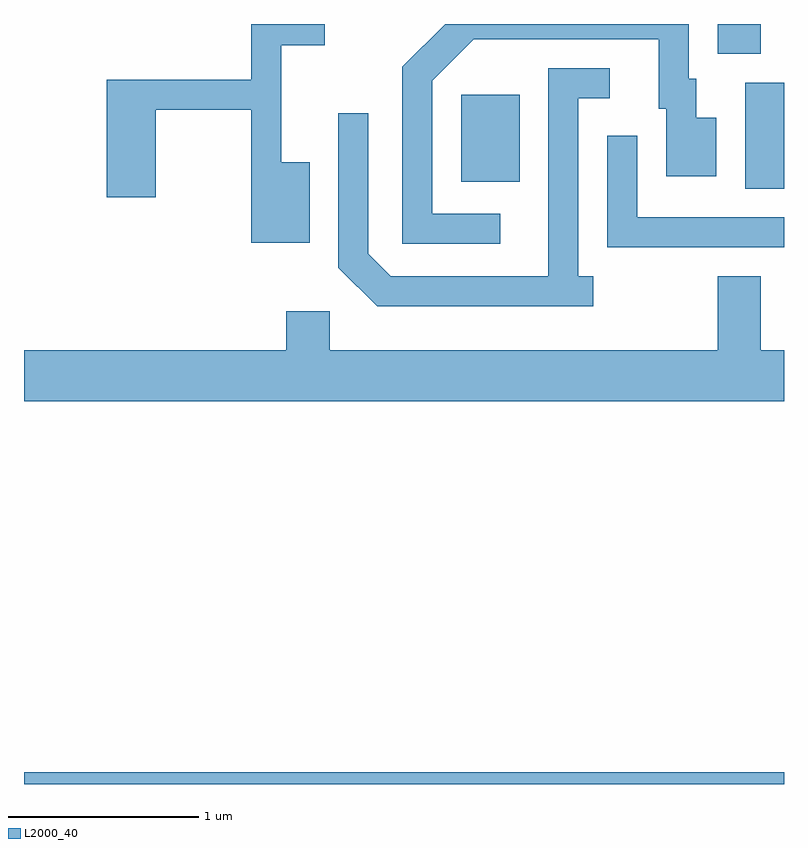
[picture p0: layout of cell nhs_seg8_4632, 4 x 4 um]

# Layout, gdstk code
import gdstk
lib = gdstk.Library(unit=1e-6, precision=1e-09)
def R(c, l, rs):  # rectangles x0, y0, x1, y1
    for r in rs: c.add(gdstk.rectangle(r[:2], r[2:], *l))
def P(c, l, *ps):  # polygons
    for p in ps: c.add(gdstk.Polygon(p, *l))
L2000_40 = (2000, 40)

nhs_seg8_4632 = lib.new_cell('nhs_seg8_4632')
R(nhs_seg8_4632, L2000_40, [(323.611,1894.342,327.611,1894.404), (327.406,1897.476,327.611,1898.034), (325.911,1897.511,326.219,1897.969), (327.261,1898.186,327.489,1898.342)])
P(nhs_seg8_4632, L2000_40, [(325.114,1897.614),(324.964,1897.614),(324.964,1898.231),(325.193,1898.231),(325.193,1898.342),(324.806,1898.342),(324.806,1898.049),(324.046,1898.049),(324.046,1897.431),(324.304,1897.431),(324.304,1897.891),(324.806,1897.891),(324.806,1897.191),(325.114,1897.191)],
  [(326.118,1897.344),(325.759,1897.344),(325.759,1898.044),(325.977,1898.261),(326.951,1898.261),(326.951,1897.896),(326.991,1897.896),(326.991,1897.541),(327.254,1897.541),(327.254,1897.849),(327.149,1897.849),(327.149,1898.054),(327.109,1898.054),(327.109,1898.342),(325.827,1898.342),(325.601,1898.117),(325.601,1897.186),(326.118,1897.186)],
  [(326.608,1897.014),(326.529,1897.014),(326.529,1897.951),(326.693,1897.951),(326.693,1898.109),(326.371,1898.109),(326.371,1897.014),(325.542,1897.014),(325.424,1897.132),(325.424,1897.873),(325.266,1897.873),(325.266,1897.059),(325.469,1896.856),(326.608,1896.856)],
  [(327.611,1897.324),(326.839,1897.324),(326.839,1897.753),(326.681,1897.753),(326.681,1897.166),(327.611,1897.166)],
  [(327.611,1896.624),(327.489,1896.624),(327.489,1897.014),(327.261,1897.014),(327.261,1896.624),(325.219,1896.624),(325.219,1896.829),(324.991,1896.829),(324.991,1896.624),(323.611,1896.624),(323.611,1896.356),(327.611,1896.356)])

lib.write_gds('nhs_seg8_4632.gds')
